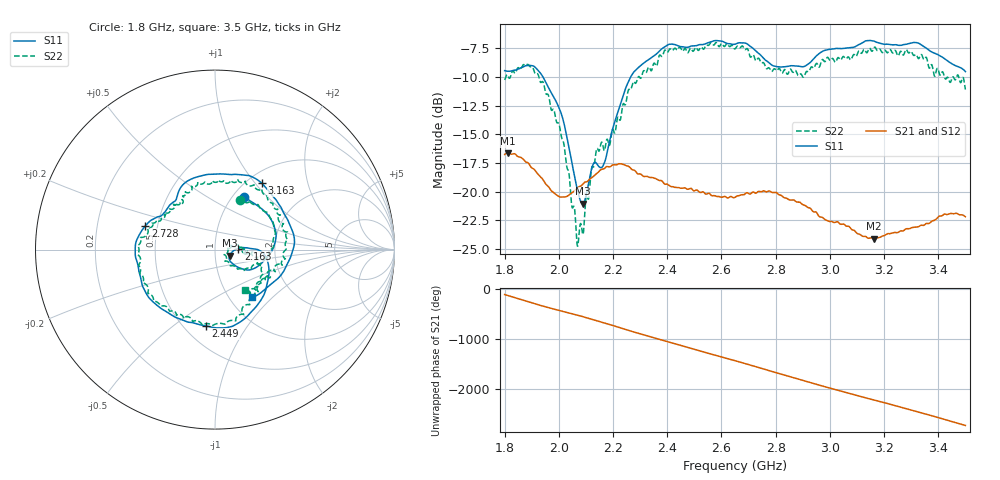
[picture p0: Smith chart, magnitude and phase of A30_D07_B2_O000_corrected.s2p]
! Created with skrf 1.9.0 (http://scikit-rf.org).
# Hz S RI R 50.0
!freq ReS11 ImS11 ReS21 ImS21 ReS12 ImS12 ReS22 ImS22
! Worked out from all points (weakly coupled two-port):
!   1601 points, 1.8 GHz to 3.5 GHz, reference 50 ohm
!   highest |S21| = -16.64 dB at 1.812 GHz (marker M1); lowest = -24.1 dB at 3.162 GHz (marker M2)
!   lowest |S11| = -21.1 dB at 2.088 GHz (marker M3), VSWR 1.19, Z = 58.8 - j4.02 ohm
!   |S11| at or under -10 dB: 1.942 GHz to 2.265 GHz (323.8 MHz wide, 15.4 % of centre)
!   |S22| runs from -24.7 to -7.0 dB; largest |S21 - S12| = 0.0028
!   S11 on the Smith chart (normalised r, x): 1.8 GHz: 1.12, +0.75; 2.163 GHz: 1.30, +0.01; 2.449 GHz: 0.64, -0.66; 2.728 GHz: 0.43, +0.14; 3.163 GHz: 1.16, +1.08; 3.5 GHz: 1.27, -0.75
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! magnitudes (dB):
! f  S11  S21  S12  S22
! 1.8 GHz  -9.5  -16.8  -16.7  -10.3
! 1.812 GHz  -9.5  -16.6  -16.6  -9.9
! 1.882 GHz  -9.0  -17.4  -17.5  -8.9
! 1.941 GHz  -10.0  -18.9  -18.9  -10.4
! 2.01 GHz  -13.3  -20.5  -20.5  -15.3
! 2.067 GHz  -19.6  -19.7  -19.7  -24.4
! 2.084 GHz  -21.0  -19.5  -19.4  -23.0
! 2.088 GHz  -21.1  -19.3  -19.4  -23.7
! 2.129 GHz  -17.5  -18.6  -18.6  -17.8
! 2.163 GHz  -17.7  -18.0  -18.0  -16.1
! 2.261 GHz  -10.2  -17.9  -17.9  -11.1
! 2.367 GHz  -7.9  -19.0  -18.9  -8.4
! 2.449 GHz  -7.4  -19.7  -19.7  -7.5
! 2.65 GHz  -7.2  -20.5  -20.5  -7.6
! 2.728 GHz  -7.8  -20.1  -20.1  -8.6
! 2.806 GHz  -9.1  -20.2  -20.2  -9.4
! 2.934 GHz  -8.6  -21.6  -21.6  -9.1
! 3.162 GHz  -6.9  -24.1  -24.0  -7.5
! 3.163 GHz  -6.9  -24.1  -24.0  -7.5
! 3.217 GHz  -7.2  -23.6  -23.6  -7.7
! 3.325 GHz  -7.1  -23.1  -23.0  -8.4
! 3.5 GHz  -9.5  -22.2  -22.2  -11.1
